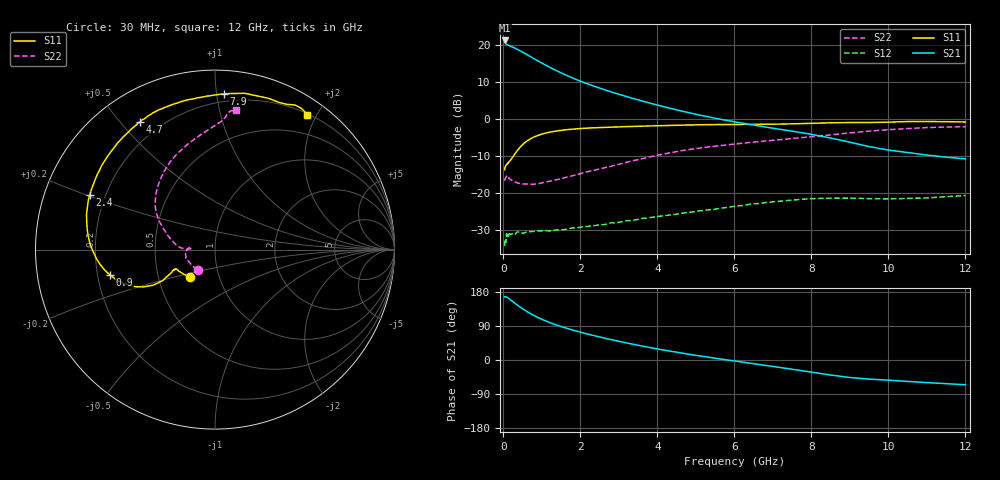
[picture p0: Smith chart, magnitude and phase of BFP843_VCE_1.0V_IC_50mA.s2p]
! Infineon Technologies  Discrete & RF Semiconductors
! BFP843
! VCE =  1.0 V,  IC =  50 mA
! Common Emitter S-Parameters:  Aug 2013
# GHz  S  MA  R  50
!  f  S11  S21  S12  S22
! GHz  MAG  ANG  MAG  ANG  MAG  ANG  MAG  ANG
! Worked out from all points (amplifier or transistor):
!   103 points, 30 MHz to 12 GHz, reference 50 ohm
!   highest |S21| = 21.1 dB at 30 MHz (marker M1)
!   |S21| within 3 dB of that: start of sweep to 473.3 MHz
!   unconditionally stable (mu >= 1): start of sweep to end of sweep
!   at 400 MHz: K = 1.79, MAG = 19.3 dB, |S12| = -30.4 dB
!   at 3.7 GHz: K = 2.27, MAG = 9.3 dB, |S12| = -26.7 dB
!   at 12 GHz: K = 1.74, MAG = -0.1 dB, |S12| = -20.6 dB
!   S11 on the Smith chart (normalised r, x): 30 MHz: 0.72, -0.23; 900 MHz: 0.25, -0.11; 2.4 GHz: 0.14, +0.20; 4.7 GHz: 0.13, +0.57; 7.9 GHz: 0.15, +1.05; 12 GHz: 0.21, +1.87
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0.03  0.2067 -132.3  11.36 166.7  0.0194 29.3  0.1472 -131.1
0.04  0.2205 -141.1  10.84 166.4  0.0238 20.9  0.1557 -143.8
0.05  0.2289 -146.5  10.56 167.5  0.0231 19.2  0.1584 -152.1
0.07  0.2378 -151.7  10.14 166.8  0.024 20.9  0.1646 -160.8
0.3  0.3395 -149.3  8.947 149.6  0.028 8.9  0.1418 175.1
0.4  0.3977 -150.1  8.404 142.0  0.0301 10.1  0.1356 174.2
0.5  0.4526 -152.6  7.907 135.0  0.0288 10.1  0.1333 174.5
0.7  0.5386 -159.4  6.894 122.5  0.0305 9.6  0.1317 175.8
0.9  0.6007 -166.2  6.006 112.0  0.0312 10.9  0.1345 177.2
1.1  0.645 -172.6  5.275 103.1  0.0315 12.1  0.1414 178.6
1.4  0.6907 178.7  4.398 91.7  0.0321 14.9  0.1531 179.5
1.7  0.7201 171.2  3.735 82.0  0.0335 17.2  0.1677 178.9
2.1  0.7471 162.4  3.073 70.7  0.0357 19.1  0.1898 177.0
2.4  0.7607 156.6  2.707 63.2  0.0368 21.4  0.2063 174.9
3.2  0.7879 142.0  1.997 45.0  0.0427 22.6  0.2604 165.5
4.1  0.8112 127.9  1.487 27.4  0.0493 22.5  0.3322 154.9
4.7  0.8255 120.4  1.252 17.1  0.0544 21.2  0.3781 148.9
6.1  0.8415 107.1  0.896 -4.0  0.0677 15.6  0.4643 134.2
7.9  0.8691 86.7  0.632 -30.5  0.084 0.8  0.5697 112.5
8.5  0.8865 79.2  0.553 -39.6  0.0857 -5.6  0.6103 103.8
10.5  0.9211 61.0  0.353 -56.5  0.0852 -17.1  0.7411 85.4
12  0.9096 55.8  0.29 -65.3  0.0928 -23.6  0.7851 81.3
